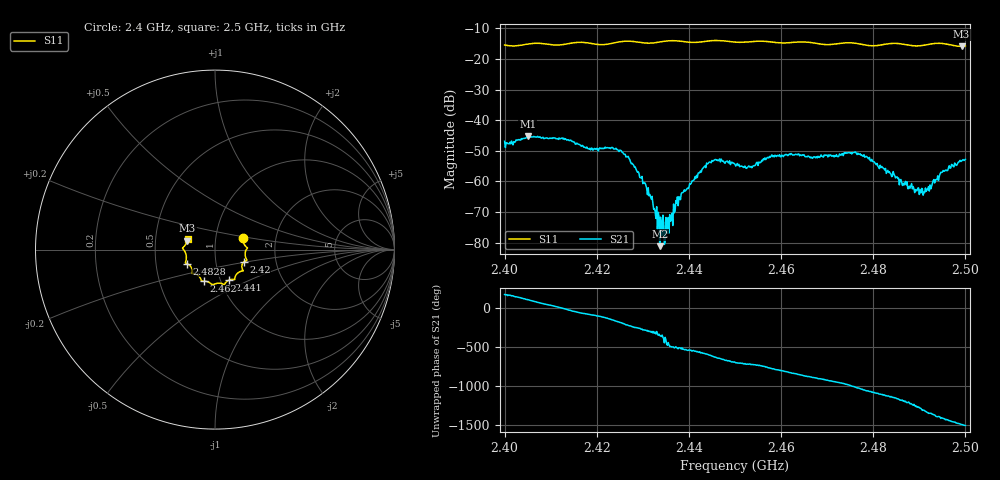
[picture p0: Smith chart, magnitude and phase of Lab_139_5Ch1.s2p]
# Hz S RI R 50
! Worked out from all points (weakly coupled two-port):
!   601 points, 2.4 GHz to 2.5 GHz, reference 50 ohm
!   highest |S21| = -45.25 dB at 2.405 GHz (marker M1); lowest = -81.2 dB at 2.4337 GHz (marker M2)
!   lowest |S11| = -15.8 dB at 2.4992 GHz (marker M3), VSWR 1.38, Z = 36.5 + j3.67 ohm
!   |S11| at or under -10 dB: start of sweep to end of sweep
!   S12 and S22 are empty: the file has one direction only
!   S11 on the Smith chart (normalised r, x): 2.4 GHz: 1.36, +0.18; 2.42 GHz: 1.36, -0.20; 2.441 GHz: 1.10, -0.39; 2.462 GHz: 0.84, -0.30; 2.4828 GHz: 0.72, -0.12; 2.5 GHz: 0.73, +0.09
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2.4e9  0.1572 0.0632  -0.00443 0.000934  0 0  0 0
2.405e9  0.1751 0.0146  -0.00116 0.00534  0 0  0 0
2.416667e9  0.1779 -0.0599  0.00129 -0.00352  0 0  0 0
2.42e9  0.1595 -0.0695  -0.00104 -0.0033  0 0  0 0
2.426667e9  0.1569 -0.1178  -0.00185 0.00171  0 0  0 0
2.430333e9  0.1333 -0.1258  0.00026 0.000895  0 0  0 0
2.433333e9  0.1124 -0.151  0.000311 3.76e-05  0 0  0 0
2.433667e9  0.1118 -0.1538  8.71e-05 1.99e-06  0 0  0 0
2.435167e9  0.1104 -0.1635  -6.24e-05 -0.000196  0 0  0 0
2.437667e9  0.1063 -0.1667  -0.000391 -8.13e-05  0 0  0 0
2.441e9  0.0786 -0.1696  -0.00103 0.000184  0 0  0 0
2.4455e9  0.0521 -0.1939  0.00018 0.00221  0 0  0 0
2.45e9  0.0286 -0.1871  0.00181 0.000618  0 0  0 0
2.452833e9  0.000839 -0.1905  0.00172 -0.000203  0 0  0 0
2.462e9  -0.0603 -0.1756  -0.00115 -0.00247  0 0  0 0
2.466667e9  -0.0777 -0.1683  -0.0024 -0.000291  0 0  0 0
2.476167e9  -0.1259 -0.1303  0.00158 0.00258  0 0  0 0
2.482833e9  -0.1576 -0.0775  0.000868 -0.00103  0 0  0 0
2.483333e9  -0.1608 -0.0762  0.000827 -0.00113  0 0  0 0
2.491333e9  -0.1697 -0.008  -0.000246 0.000741  0 0  0 0
2.499167e9  -0.1537 0.0489  0.00108 -0.00186  0 0  0 0
2.5e9  -0.1516 0.061  0.000701 -0.00219  0 0  0 0
